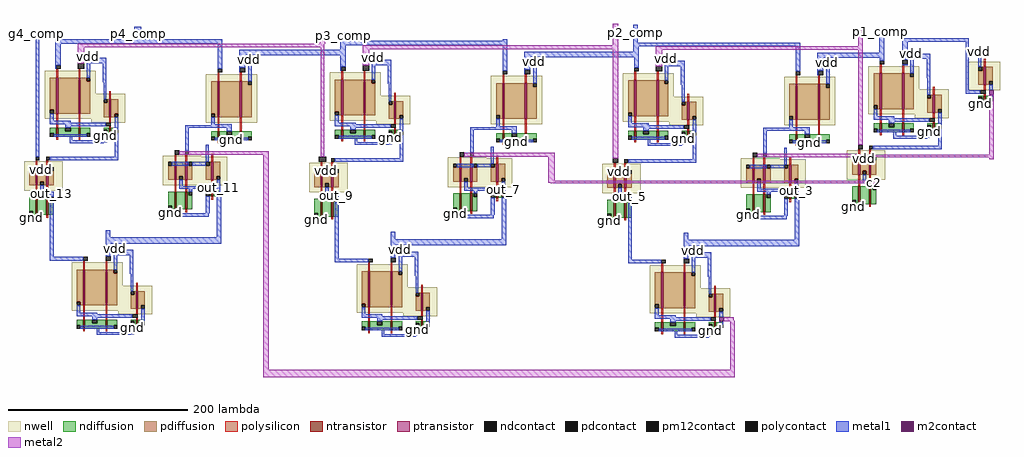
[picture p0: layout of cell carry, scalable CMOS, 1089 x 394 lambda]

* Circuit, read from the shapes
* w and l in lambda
.subckt carry c1 c2 c3 c4 c5 g0_comp g1_comp g2_comp g3_comp g4_comp gnd out_1 out_10 out_11 out_12 out_13 out_2 out_3 out_4 out_5 out_6 out_7 out_8 out_9 p1_comp p2_comp p3_comp p4_comp vdd
M1 n1 g4_comp gnd VSUBS nfet w=20 l=2
M2 out_13 out_12 n1 VSUBS nfet w=20 l=2
M3 n2 p4_comp gnd VSUBS nfet w=10 l=2
M4 gnd g3_comp n2 VSUBS nfet w=10 l=2
M5 n3 out_13 gnd VSUBS nfet w=10 l=2
M6 gnd out_11 n3 VSUBS nfet w=10 l=2
M7 out_12 n2 gnd VSUBS nfet w=6 l=2
M8 c5 n3 gnd VSUBS nfet w=6 l=2
M9 n4 c3 gnd VSUBS nfet w=20 l=2
M10 n5 out_10 n4 VSUBS nfet w=20 l=2
M11 out_11 n5 gnd VSUBS nfet w=6 l=2
M12 out_10 p4_comp gnd VSUBS nfet w=10 l=2
M13 gnd p3_comp out_10 VSUBS nfet w=10 l=2
M14 n6 g3_comp gnd VSUBS nfet w=20 l=2
M15 out_9 out_8 n6 VSUBS nfet w=20 l=2
M16 n7 p3_comp gnd VSUBS nfet w=10 l=2
M17 gnd g2_comp n7 VSUBS nfet w=10 l=2
M18 n8 out_9 gnd VSUBS nfet w=10 l=2
M19 gnd out_7 n8 VSUBS nfet w=10 l=2
M20 out_8 n7 gnd VSUBS nfet w=6 l=2
M21 c4 n8 gnd VSUBS nfet w=6 l=2
M22 n9 c2 gnd VSUBS nfet w=20 l=2
M23 n10 out_6 n9 VSUBS nfet w=20 l=2
M24 out_7 n10 gnd VSUBS nfet w=6 l=2
M25 out_6 p3_comp gnd VSUBS nfet w=10 l=2
M26 gnd p2_comp out_6 VSUBS nfet w=10 l=2
M27 n11 g2_comp gnd VSUBS nfet w=20 l=2
M28 out_5 out_4 n11 VSUBS nfet w=20 l=2
M29 n12 p2_comp gnd VSUBS nfet w=10 l=2
M30 gnd g1_comp n12 VSUBS nfet w=10 l=2
M31 n13 out_5 gnd VSUBS nfet w=10 l=2
M32 gnd out_3 n13 VSUBS nfet w=10 l=2
M33 out_4 n12 gnd VSUBS nfet w=6 l=2
M34 c3 n13 gnd VSUBS nfet w=6 l=2
M35 n14 c1 gnd VSUBS nfet w=20 l=2
M36 n15 out_2 n14 VSUBS nfet w=20 l=2
M37 out_3 n15 gnd VSUBS nfet w=6 l=2
M38 out_2 p2_comp gnd VSUBS nfet w=10 l=2
M39 gnd p1_comp out_2 VSUBS nfet w=10 l=2
M40 n16 g1_comp gnd VSUBS nfet w=20 l=2
M41 c2 out_1 n16 VSUBS nfet w=20 l=2
M42 n17 p1_comp gnd VSUBS nfet w=10 l=2
M43 gnd g0_comp n17 VSUBS nfet w=10 l=2
M44 out_1 n17 gnd VSUBS nfet w=6 l=2
M45 c1 g0_comp gnd VSUBS nfet w=6 l=2
M46 out_13 g4_comp vdd n18 pfet w=20 l=2
M47 vdd out_12 out_13 n18 pfet w=20 l=2
M48 n19 p4_comp n2 n20 pfet w=40 l=2
M49 vdd g3_comp n19 n20 pfet w=40 l=2
M50 n21 out_13 n3 n22 pfet w=40 l=2
M51 vdd out_11 n21 n22 pfet w=40 l=2
M52 out_12 n2 vdd n20 pfet w=20 l=2
M53 c5 n3 vdd n22 pfet w=20 l=2
M54 n5 c3 vdd n23 pfet w=20 l=2
M55 vdd out_10 n5 n23 pfet w=20 l=2
M56 out_11 n5 vdd n23 pfet w=20 l=2
M57 n24 p4_comp out_10 n25 pfet w=40 l=2
M58 vdd p3_comp n24 n25 pfet w=40 l=2
M59 out_9 g3_comp vdd n26 pfet w=20 l=2
M60 vdd out_8 out_9 n26 pfet w=20 l=2
M61 n27 p3_comp n7 n28 pfet w=40 l=2
M62 vdd g2_comp n27 n28 pfet w=40 l=2
M63 n29 out_9 n8 n30 pfet w=40 l=2
M64 vdd out_7 n29 n30 pfet w=40 l=2
M65 out_8 n7 vdd n28 pfet w=20 l=2
M66 c4 n8 vdd n30 pfet w=20 l=2
M67 n10 c2 vdd n31 pfet w=20 l=2
M68 vdd out_6 n10 n31 pfet w=20 l=2
M69 out_7 n10 vdd n31 pfet w=20 l=2
M70 n32 p3_comp out_6 n33 pfet w=40 l=2
M71 vdd p2_comp n32 n33 pfet w=40 l=2
M72 out_5 g2_comp vdd n34 pfet w=20 l=2
M73 vdd out_4 out_5 n34 pfet w=20 l=2
M74 n35 p2_comp n12 n36 pfet w=40 l=2
M75 vdd g1_comp n35 n36 pfet w=40 l=2
M76 n37 out_5 n13 n38 pfet w=40 l=2
M77 vdd out_3 n37 n38 pfet w=40 l=2
M78 out_4 n12 vdd n36 pfet w=20 l=2
M79 c3 n13 vdd n38 pfet w=20 l=2
M80 n15 c1 vdd n39 pfet w=20 l=2
M81 vdd out_2 n15 n39 pfet w=20 l=2
M82 out_3 n15 vdd n39 pfet w=20 l=2
M83 n40 p2_comp out_2 n41 pfet w=40 l=2
M84 vdd p1_comp n40 n41 pfet w=40 l=2
M85 c2 g1_comp vdd n42 pfet w=20 l=2
M86 vdd out_1 c2 n42 pfet w=20 l=2
M87 n43 p1_comp n17 n44 pfet w=40 l=2
M88 vdd g0_comp n43 n44 pfet w=40 l=2
M89 out_1 n17 vdd n44 pfet w=20 l=2
M90 c1 g0_comp vdd n45 pfet w=20 l=2
.ends

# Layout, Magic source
magic
tech scmos
<< nwell >>
rect -1082 -52 -1025 -26
rect -1082 -80 -992 -52
rect -1030 -84 -992 -80
rect -902 -84 -845 -30
rect -764 -54 -707 -28
rect -764 -82 -674 -54
rect -712 -86 -674 -82
rect -584 -86 -527 -32
rect -437 -55 -380 -29
rect -437 -83 -347 -55
rect -385 -87 -347 -83
rect -257 -87 -200 -33
rect -163 -47 -106 -21
rect -163 -75 -73 -47
rect -52 -48 -16 -16
rect -111 -79 -73 -75
rect -950 -122 -907 -121
rect -1105 -160 -1062 -127
rect -950 -154 -878 -122
rect -632 -124 -589 -123
rect -787 -162 -744 -129
rect -632 -156 -560 -124
rect -305 -125 -262 -124
rect -460 -163 -417 -130
rect -305 -157 -233 -125
rect -187 -148 -144 -115
rect -1052 -266 -995 -240
rect -1052 -294 -962 -266
rect -1000 -298 -962 -294
rect -734 -268 -677 -242
rect -734 -296 -644 -268
rect -682 -300 -644 -296
rect -407 -269 -350 -243
rect -407 -297 -317 -269
rect -355 -301 -317 -297
<< ntransistor >>
rect -1069 -100 -1067 -90
rect -1044 -100 -1042 -90
rect -1010 -96 -1008 -90
rect -889 -104 -887 -94
rect -864 -104 -862 -94
rect -751 -102 -749 -92
rect -726 -102 -724 -92
rect -692 -98 -690 -92
rect -571 -106 -569 -96
rect -546 -106 -544 -96
rect -424 -103 -422 -93
rect -399 -103 -397 -93
rect -365 -99 -363 -93
rect -34 -60 -32 -54
rect -150 -95 -148 -85
rect -125 -95 -123 -85
rect -91 -91 -89 -85
rect -244 -107 -242 -97
rect -219 -107 -217 -97
rect -1092 -187 -1090 -167
rect -1080 -187 -1078 -167
rect -937 -181 -935 -161
rect -925 -181 -923 -161
rect -896 -166 -894 -160
rect -774 -189 -772 -169
rect -762 -189 -760 -169
rect -619 -183 -617 -163
rect -607 -183 -605 -163
rect -578 -168 -576 -162
rect -447 -190 -445 -170
rect -435 -190 -433 -170
rect -292 -184 -290 -164
rect -280 -184 -278 -164
rect -251 -169 -249 -163
rect -174 -175 -172 -155
rect -162 -175 -160 -155
rect -1039 -314 -1037 -304
rect -1014 -314 -1012 -304
rect -980 -310 -978 -304
rect -721 -316 -719 -306
rect -696 -316 -694 -306
rect -662 -312 -660 -306
rect -394 -317 -392 -307
rect -369 -317 -367 -307
rect -335 -313 -333 -307
<< ptransistor >>
rect -1069 -74 -1067 -34
rect -1044 -74 -1042 -34
rect -1010 -78 -1008 -58
rect -889 -78 -887 -38
rect -864 -78 -862 -38
rect -751 -76 -749 -36
rect -726 -76 -724 -36
rect -692 -80 -690 -60
rect -571 -80 -569 -40
rect -546 -80 -544 -40
rect -424 -77 -422 -37
rect -399 -77 -397 -37
rect -365 -81 -363 -61
rect -244 -81 -242 -41
rect -219 -81 -217 -41
rect -150 -69 -148 -29
rect -125 -69 -123 -29
rect -34 -42 -32 -22
rect -91 -73 -89 -53
rect -1092 -154 -1090 -134
rect -1080 -154 -1078 -134
rect -937 -148 -935 -128
rect -925 -148 -923 -128
rect -896 -148 -894 -128
rect -774 -156 -772 -136
rect -762 -156 -760 -136
rect -619 -150 -617 -130
rect -607 -150 -605 -130
rect -578 -150 -576 -130
rect -447 -157 -445 -137
rect -435 -157 -433 -137
rect -292 -151 -290 -131
rect -280 -151 -278 -131
rect -251 -151 -249 -131
rect -174 -142 -172 -122
rect -162 -142 -160 -122
rect -1039 -288 -1037 -248
rect -1014 -288 -1012 -248
rect -980 -292 -978 -272
rect -721 -290 -719 -250
rect -696 -290 -694 -250
rect -662 -294 -660 -274
rect -394 -291 -392 -251
rect -369 -291 -367 -251
rect -335 -295 -333 -275
<< ndiffusion >>
rect -1076 -96 -1069 -90
rect -1072 -100 -1069 -96
rect -1067 -94 -1059 -90
rect -1053 -94 -1044 -90
rect -1067 -100 -1044 -94
rect -1042 -96 -1031 -90
rect -1016 -92 -1010 -90
rect -1012 -96 -1010 -92
rect -1008 -92 -1000 -90
rect -1008 -96 -1004 -92
rect -1042 -100 -1035 -96
rect -896 -100 -889 -94
rect -892 -104 -889 -100
rect -887 -98 -879 -94
rect -873 -98 -864 -94
rect -887 -104 -864 -98
rect -862 -100 -851 -94
rect -862 -104 -855 -100
rect -758 -98 -751 -92
rect -754 -102 -751 -98
rect -749 -96 -741 -92
rect -735 -96 -726 -92
rect -749 -102 -726 -96
rect -724 -98 -713 -92
rect -698 -94 -692 -92
rect -694 -98 -692 -94
rect -690 -94 -682 -92
rect -690 -98 -686 -94
rect -724 -102 -717 -98
rect -578 -102 -571 -96
rect -574 -106 -571 -102
rect -569 -100 -561 -96
rect -555 -100 -546 -96
rect -569 -106 -546 -100
rect -544 -102 -533 -96
rect -544 -106 -537 -102
rect -431 -99 -424 -93
rect -427 -103 -424 -99
rect -422 -97 -414 -93
rect -408 -97 -399 -93
rect -422 -103 -399 -97
rect -397 -99 -386 -93
rect -371 -95 -365 -93
rect -367 -99 -365 -95
rect -363 -95 -355 -93
rect -363 -99 -359 -95
rect -40 -56 -34 -54
rect -36 -60 -34 -56
rect -32 -56 -24 -54
rect -32 -60 -28 -56
rect -157 -91 -150 -85
rect -153 -95 -150 -91
rect -148 -89 -140 -85
rect -134 -89 -125 -85
rect -148 -95 -125 -89
rect -123 -91 -112 -85
rect -97 -87 -91 -85
rect -93 -91 -91 -87
rect -89 -87 -81 -85
rect -89 -91 -85 -87
rect -123 -95 -116 -91
rect -397 -103 -390 -99
rect -251 -103 -244 -97
rect -247 -107 -244 -103
rect -242 -101 -234 -97
rect -228 -101 -219 -97
rect -242 -107 -219 -101
rect -217 -103 -206 -97
rect -217 -107 -210 -103
rect -1099 -183 -1092 -167
rect -1095 -187 -1092 -183
rect -1090 -187 -1080 -167
rect -1078 -171 -1076 -167
rect -1078 -187 -1072 -171
rect -944 -177 -937 -161
rect -940 -181 -937 -177
rect -935 -181 -925 -161
rect -923 -165 -921 -161
rect -923 -181 -917 -165
rect -902 -162 -896 -160
rect -898 -166 -896 -162
rect -894 -162 -886 -160
rect -894 -166 -890 -162
rect -781 -185 -774 -169
rect -777 -189 -774 -185
rect -772 -189 -762 -169
rect -760 -173 -758 -169
rect -760 -189 -754 -173
rect -626 -179 -619 -163
rect -622 -183 -619 -179
rect -617 -183 -607 -163
rect -605 -167 -603 -163
rect -605 -183 -599 -167
rect -584 -164 -578 -162
rect -580 -168 -578 -164
rect -576 -164 -568 -162
rect -576 -168 -572 -164
rect -454 -186 -447 -170
rect -450 -190 -447 -186
rect -445 -190 -435 -170
rect -433 -174 -431 -170
rect -433 -190 -427 -174
rect -299 -180 -292 -164
rect -295 -184 -292 -180
rect -290 -184 -280 -164
rect -278 -168 -276 -164
rect -278 -184 -272 -168
rect -257 -165 -251 -163
rect -253 -169 -251 -165
rect -249 -165 -241 -163
rect -249 -169 -245 -165
rect -181 -171 -174 -155
rect -177 -175 -174 -171
rect -172 -175 -162 -155
rect -160 -159 -158 -155
rect -160 -175 -154 -159
rect -1046 -310 -1039 -304
rect -1042 -314 -1039 -310
rect -1037 -308 -1029 -304
rect -1023 -308 -1014 -304
rect -1037 -314 -1014 -308
rect -1012 -310 -1001 -304
rect -986 -306 -980 -304
rect -982 -310 -980 -306
rect -978 -306 -970 -304
rect -978 -310 -974 -306
rect -1012 -314 -1005 -310
rect -728 -312 -721 -306
rect -724 -316 -721 -312
rect -719 -310 -711 -306
rect -705 -310 -696 -306
rect -719 -316 -696 -310
rect -694 -312 -683 -306
rect -668 -308 -662 -306
rect -664 -312 -662 -308
rect -660 -308 -652 -306
rect -660 -312 -656 -308
rect -694 -316 -687 -312
rect -401 -313 -394 -307
rect -397 -317 -394 -313
rect -392 -311 -384 -307
rect -378 -311 -369 -307
rect -392 -317 -369 -311
rect -367 -313 -356 -307
rect -341 -309 -335 -307
rect -337 -313 -335 -309
rect -333 -309 -325 -307
rect -333 -313 -329 -309
rect -367 -317 -360 -313
<< pdiffusion >>
rect -1076 -70 -1069 -34
rect -1072 -74 -1069 -70
rect -1067 -74 -1044 -34
rect -1042 -38 -1035 -34
rect -1042 -74 -1031 -38
rect -1012 -62 -1010 -58
rect -1016 -78 -1010 -62
rect -1008 -74 -1000 -58
rect -1008 -78 -1004 -74
rect -896 -74 -889 -38
rect -892 -78 -889 -74
rect -887 -78 -864 -38
rect -862 -42 -855 -38
rect -862 -78 -851 -42
rect -758 -72 -751 -36
rect -754 -76 -751 -72
rect -749 -76 -726 -36
rect -724 -40 -717 -36
rect -36 -26 -34 -22
rect -724 -76 -713 -40
rect -694 -64 -692 -60
rect -698 -80 -692 -64
rect -690 -76 -682 -60
rect -690 -80 -686 -76
rect -578 -76 -571 -40
rect -574 -80 -571 -76
rect -569 -80 -546 -40
rect -544 -44 -537 -40
rect -544 -80 -533 -44
rect -431 -73 -424 -37
rect -427 -77 -424 -73
rect -422 -77 -399 -37
rect -397 -41 -390 -37
rect -397 -77 -386 -41
rect -367 -65 -365 -61
rect -371 -81 -365 -65
rect -363 -77 -355 -61
rect -363 -81 -359 -77
rect -251 -77 -244 -41
rect -247 -81 -244 -77
rect -242 -81 -219 -41
rect -217 -45 -210 -41
rect -217 -81 -206 -45
rect -157 -65 -150 -29
rect -153 -69 -150 -65
rect -148 -69 -125 -29
rect -123 -33 -116 -29
rect -123 -69 -112 -33
rect -40 -42 -34 -26
rect -32 -38 -24 -22
rect -32 -42 -28 -38
rect -93 -57 -91 -53
rect -97 -73 -91 -57
rect -89 -69 -81 -53
rect -89 -73 -85 -69
rect -940 -132 -937 -128
rect -1095 -138 -1092 -134
rect -1099 -154 -1092 -138
rect -1090 -150 -1080 -134
rect -1090 -154 -1087 -150
rect -1083 -154 -1080 -150
rect -1078 -138 -1076 -134
rect -1078 -154 -1072 -138
rect -944 -148 -937 -132
rect -935 -144 -925 -128
rect -935 -148 -932 -144
rect -928 -148 -925 -144
rect -923 -132 -921 -128
rect -923 -148 -917 -132
rect -898 -132 -896 -128
rect -902 -148 -896 -132
rect -894 -144 -886 -128
rect -622 -134 -619 -130
rect -894 -148 -890 -144
rect -777 -140 -774 -136
rect -781 -156 -774 -140
rect -772 -152 -762 -136
rect -772 -156 -769 -152
rect -765 -156 -762 -152
rect -760 -140 -758 -136
rect -760 -156 -754 -140
rect -626 -150 -619 -134
rect -617 -146 -607 -130
rect -617 -150 -614 -146
rect -610 -150 -607 -146
rect -605 -134 -603 -130
rect -605 -150 -599 -134
rect -580 -134 -578 -130
rect -584 -150 -578 -134
rect -576 -146 -568 -130
rect -177 -126 -174 -122
rect -295 -135 -292 -131
rect -576 -150 -572 -146
rect -450 -141 -447 -137
rect -454 -157 -447 -141
rect -445 -153 -435 -137
rect -445 -157 -442 -153
rect -438 -157 -435 -153
rect -433 -141 -431 -137
rect -433 -157 -427 -141
rect -299 -151 -292 -135
rect -290 -147 -280 -131
rect -290 -151 -287 -147
rect -283 -151 -280 -147
rect -278 -135 -276 -131
rect -278 -151 -272 -135
rect -253 -135 -251 -131
rect -257 -151 -251 -135
rect -249 -147 -241 -131
rect -181 -142 -174 -126
rect -172 -138 -162 -122
rect -172 -142 -169 -138
rect -165 -142 -162 -138
rect -160 -126 -158 -122
rect -160 -142 -154 -126
rect -249 -151 -245 -147
rect -1046 -284 -1039 -248
rect -1042 -288 -1039 -284
rect -1037 -288 -1014 -248
rect -1012 -252 -1005 -248
rect -1012 -288 -1001 -252
rect -982 -276 -980 -272
rect -986 -292 -980 -276
rect -978 -288 -970 -272
rect -978 -292 -974 -288
rect -728 -286 -721 -250
rect -724 -290 -721 -286
rect -719 -290 -696 -250
rect -694 -254 -687 -250
rect -694 -290 -683 -254
rect -664 -278 -662 -274
rect -668 -294 -662 -278
rect -660 -290 -652 -274
rect -660 -294 -656 -290
rect -401 -287 -394 -251
rect -397 -291 -394 -287
rect -392 -291 -369 -251
rect -367 -255 -360 -251
rect -367 -291 -356 -255
rect -337 -279 -335 -275
rect -341 -295 -335 -279
rect -333 -291 -325 -275
rect -333 -295 -329 -291
<< ndcontact >>
rect -1076 -100 -1072 -96
rect -1059 -94 -1053 -90
rect -1016 -96 -1012 -92
rect -1004 -96 -1000 -92
rect -1035 -100 -1031 -96
rect -896 -104 -892 -100
rect -879 -98 -873 -94
rect -855 -104 -851 -100
rect -758 -102 -754 -98
rect -741 -96 -735 -92
rect -698 -98 -694 -94
rect -686 -98 -682 -94
rect -717 -102 -713 -98
rect -578 -106 -574 -102
rect -561 -100 -555 -96
rect -537 -106 -533 -102
rect -431 -103 -427 -99
rect -414 -97 -408 -93
rect -371 -99 -367 -95
rect -359 -99 -355 -95
rect -40 -60 -36 -56
rect -28 -60 -24 -56
rect -157 -95 -153 -91
rect -140 -89 -134 -85
rect -97 -91 -93 -87
rect -85 -91 -81 -87
rect -116 -95 -112 -91
rect -390 -103 -386 -99
rect -251 -107 -247 -103
rect -234 -101 -228 -97
rect -210 -107 -206 -103
rect -1099 -187 -1095 -183
rect -1076 -171 -1072 -167
rect -944 -181 -940 -177
rect -921 -165 -917 -161
rect -902 -166 -898 -162
rect -890 -166 -886 -162
rect -781 -189 -777 -185
rect -758 -173 -754 -169
rect -626 -183 -622 -179
rect -603 -167 -599 -163
rect -584 -168 -580 -164
rect -572 -168 -568 -164
rect -454 -190 -450 -186
rect -431 -174 -427 -170
rect -299 -184 -295 -180
rect -276 -168 -272 -164
rect -257 -169 -253 -165
rect -245 -169 -241 -165
rect -181 -175 -177 -171
rect -158 -159 -154 -155
rect -1046 -314 -1042 -310
rect -1029 -308 -1023 -304
rect -986 -310 -982 -306
rect -974 -310 -970 -306
rect -1005 -314 -1001 -310
rect -728 -316 -724 -312
rect -711 -310 -705 -306
rect -668 -312 -664 -308
rect -656 -312 -652 -308
rect -687 -316 -683 -312
rect -401 -317 -397 -313
rect -384 -311 -378 -307
rect -341 -313 -337 -309
rect -329 -313 -325 -309
rect -360 -317 -356 -313
<< pdcontact >>
rect -1076 -74 -1072 -70
rect -1035 -38 -1031 -34
rect -1016 -62 -1012 -58
rect -1004 -78 -1000 -74
rect -896 -78 -892 -74
rect -855 -42 -851 -38
rect -758 -76 -754 -72
rect -717 -40 -713 -36
rect -40 -26 -36 -22
rect -698 -64 -694 -60
rect -686 -80 -682 -76
rect -578 -80 -574 -76
rect -537 -44 -533 -40
rect -431 -77 -427 -73
rect -390 -41 -386 -37
rect -371 -65 -367 -61
rect -359 -81 -355 -77
rect -251 -81 -247 -77
rect -210 -45 -206 -41
rect -157 -69 -153 -65
rect -116 -33 -112 -29
rect -28 -42 -24 -38
rect -97 -57 -93 -53
rect -85 -73 -81 -69
rect -944 -132 -940 -128
rect -1099 -138 -1095 -134
rect -1087 -154 -1083 -150
rect -1076 -138 -1072 -134
rect -932 -148 -928 -144
rect -921 -132 -917 -128
rect -902 -132 -898 -128
rect -626 -134 -622 -130
rect -890 -148 -886 -144
rect -781 -140 -777 -136
rect -769 -156 -765 -152
rect -758 -140 -754 -136
rect -614 -150 -610 -146
rect -603 -134 -599 -130
rect -584 -134 -580 -130
rect -181 -126 -177 -122
rect -299 -135 -295 -131
rect -572 -150 -568 -146
rect -454 -141 -450 -137
rect -442 -157 -438 -153
rect -431 -141 -427 -137
rect -287 -151 -283 -147
rect -276 -135 -272 -131
rect -257 -135 -253 -131
rect -169 -142 -165 -138
rect -158 -126 -154 -122
rect -245 -151 -241 -147
rect -1046 -288 -1042 -284
rect -1005 -252 -1001 -248
rect -986 -276 -982 -272
rect -974 -292 -970 -288
rect -728 -290 -724 -286
rect -687 -254 -683 -250
rect -668 -278 -664 -274
rect -656 -294 -652 -290
rect -401 -291 -397 -287
rect -360 -255 -356 -251
rect -341 -279 -337 -275
rect -329 -295 -325 -291
<< polysilicon >>
rect -1069 -34 -1067 -24
rect -1044 -34 -1042 -24
rect -889 -38 -887 -28
rect -864 -38 -862 -28
rect -751 -36 -749 -26
rect -726 -36 -724 -26
rect -1010 -58 -1008 -49
rect -1069 -90 -1067 -74
rect -1044 -90 -1042 -74
rect -571 -40 -569 -30
rect -546 -40 -544 -30
rect -424 -37 -422 -27
rect -399 -37 -397 -27
rect -150 -29 -148 -19
rect -125 -29 -123 -19
rect -34 -22 -32 -13
rect -692 -60 -690 -51
rect -1010 -84 -1008 -78
rect -1010 -90 -1008 -88
rect -889 -94 -887 -78
rect -864 -94 -862 -78
rect -751 -92 -749 -76
rect -726 -92 -724 -76
rect -244 -41 -242 -31
rect -219 -41 -217 -31
rect -365 -61 -363 -52
rect -692 -86 -690 -80
rect -692 -92 -690 -90
rect -1010 -100 -1008 -96
rect -1069 -103 -1067 -100
rect -1044 -103 -1042 -100
rect -571 -96 -569 -80
rect -546 -96 -544 -80
rect -424 -93 -422 -77
rect -399 -93 -397 -77
rect -91 -53 -89 -44
rect -34 -48 -32 -42
rect -365 -87 -363 -81
rect -365 -93 -363 -91
rect -692 -102 -690 -98
rect -889 -107 -887 -104
rect -864 -107 -862 -104
rect -751 -105 -749 -102
rect -726 -105 -724 -102
rect -244 -97 -242 -81
rect -219 -97 -217 -81
rect -150 -85 -148 -69
rect -125 -85 -123 -69
rect -34 -54 -32 -52
rect -34 -64 -32 -60
rect -91 -79 -89 -73
rect -91 -85 -89 -83
rect -91 -95 -89 -91
rect -365 -103 -363 -99
rect -424 -106 -422 -103
rect -399 -106 -397 -103
rect -571 -109 -569 -106
rect -546 -109 -544 -106
rect -150 -98 -148 -95
rect -125 -98 -123 -95
rect -244 -110 -242 -107
rect -219 -110 -217 -107
rect -1092 -134 -1090 -126
rect -1080 -134 -1078 -126
rect -937 -128 -935 -120
rect -925 -128 -923 -120
rect -896 -128 -894 -119
rect -774 -136 -772 -128
rect -762 -136 -760 -128
rect -619 -130 -617 -122
rect -607 -130 -605 -122
rect -578 -130 -576 -121
rect -174 -122 -172 -114
rect -162 -122 -160 -114
rect -1092 -167 -1090 -154
rect -1080 -167 -1078 -154
rect -937 -161 -935 -148
rect -925 -161 -923 -148
rect -896 -154 -894 -148
rect -447 -137 -445 -129
rect -435 -137 -433 -129
rect -292 -131 -290 -123
rect -280 -131 -278 -123
rect -251 -131 -249 -122
rect -896 -160 -894 -158
rect -896 -170 -894 -166
rect -774 -169 -772 -156
rect -762 -169 -760 -156
rect -619 -163 -617 -150
rect -607 -163 -605 -150
rect -578 -156 -576 -150
rect -578 -162 -576 -160
rect -937 -184 -935 -181
rect -925 -184 -923 -181
rect -1092 -190 -1090 -187
rect -1080 -190 -1078 -187
rect -578 -172 -576 -168
rect -447 -170 -445 -157
rect -435 -170 -433 -157
rect -292 -164 -290 -151
rect -280 -164 -278 -151
rect -251 -157 -249 -151
rect -174 -155 -172 -142
rect -162 -155 -160 -142
rect -251 -163 -249 -161
rect -619 -186 -617 -183
rect -607 -186 -605 -183
rect -774 -192 -772 -189
rect -762 -192 -760 -189
rect -251 -173 -249 -169
rect -174 -178 -172 -175
rect -162 -178 -160 -175
rect -292 -187 -290 -184
rect -280 -187 -278 -184
rect -447 -193 -445 -190
rect -435 -193 -433 -190
rect -1039 -248 -1037 -238
rect -1014 -248 -1012 -238
rect -721 -250 -719 -240
rect -696 -250 -694 -240
rect -980 -272 -978 -263
rect -1039 -304 -1037 -288
rect -1014 -304 -1012 -288
rect -394 -251 -392 -241
rect -369 -251 -367 -241
rect -662 -274 -660 -265
rect -980 -298 -978 -292
rect -980 -304 -978 -302
rect -721 -306 -719 -290
rect -696 -306 -694 -290
rect -335 -275 -333 -266
rect -662 -300 -660 -294
rect -662 -306 -660 -304
rect -980 -314 -978 -310
rect -1039 -317 -1037 -314
rect -1014 -317 -1012 -314
rect -394 -307 -392 -291
rect -369 -307 -367 -291
rect -335 -301 -333 -295
rect -335 -307 -333 -305
rect -662 -316 -660 -312
rect -721 -319 -719 -316
rect -696 -319 -694 -316
rect -335 -317 -333 -313
rect -394 -320 -392 -317
rect -369 -320 -367 -317
<< polycontact >>
rect -1069 -24 -1064 -20
rect -150 -19 -145 -15
rect -125 -19 -119 -14
rect -889 -28 -884 -24
rect -864 -28 -858 -23
rect -751 -26 -746 -22
rect -571 -30 -566 -26
rect -546 -30 -540 -25
rect -424 -27 -419 -23
rect -244 -31 -239 -27
rect -219 -31 -213 -26
rect -1014 -88 -1008 -84
rect -696 -90 -690 -86
rect -38 -52 -32 -48
rect -369 -91 -363 -87
rect -95 -83 -89 -79
rect -162 -114 -158 -110
rect -925 -120 -921 -116
rect -1092 -126 -1088 -122
rect -1080 -126 -1076 -122
rect -607 -122 -603 -118
rect -762 -128 -758 -124
rect -280 -123 -276 -119
rect -435 -129 -431 -125
rect -900 -158 -894 -154
rect -582 -160 -576 -156
rect -255 -161 -249 -157
rect -1039 -238 -1034 -234
rect -1014 -238 -1008 -233
rect -721 -240 -716 -236
rect -696 -240 -690 -235
rect -394 -241 -389 -237
rect -369 -241 -363 -236
rect -984 -302 -978 -298
rect -666 -304 -660 -300
rect -339 -305 -333 -301
<< metal1 >>
rect -1092 -122 -1088 17
rect -982 9 -974 23
rect -1070 4 -884 9
rect -1070 -20 -1064 4
rect -1035 -12 -1031 -8
rect -1035 -18 -1013 -12
rect -1070 -24 -1069 -20
rect -1035 -34 -1031 -18
rect -1017 -39 -1013 -18
rect -889 -24 -884 4
rect -752 7 -746 17
rect -571 7 -566 9
rect -752 2 -566 7
rect -752 -3 -746 2
rect -865 -9 -746 -3
rect -865 -23 -858 -9
rect -865 -28 -864 -23
rect -1016 -58 -1013 -39
rect -855 -38 -851 -12
rect -752 -22 -746 -9
rect -717 -14 -713 -10
rect -717 -20 -695 -14
rect -752 -26 -751 -22
rect -717 -36 -713 -20
rect -699 -41 -695 -20
rect -571 -26 -566 2
rect -425 5 -420 25
rect -425 1 -239 5
rect -425 -5 -419 1
rect -547 -11 -419 -5
rect -547 -25 -540 -11
rect -547 -30 -546 -25
rect -698 -60 -695 -41
rect -537 -40 -533 -14
rect -424 -23 -419 -11
rect -390 -15 -386 -11
rect -390 -21 -368 -15
rect -390 -37 -386 -21
rect -372 -42 -368 -21
rect -244 -27 -239 1
rect -151 -6 -145 20
rect -220 -12 -145 -6
rect -220 -26 -213 -12
rect -150 -15 -145 -12
rect -220 -31 -219 -26
rect -371 -61 -368 -42
rect -210 -41 -206 -15
rect -125 6 -51 10
rect -125 -14 -119 6
rect -125 -20 -119 -19
rect -116 -7 -112 -3
rect -116 -13 -94 -7
rect -116 -29 -112 -13
rect -98 -34 -94 -13
rect -97 -53 -94 -34
rect -54 -48 -51 6
rect -40 -22 -37 -3
rect -28 -48 -24 -42
rect -54 -52 -38 -48
rect -28 -56 -24 -53
rect -40 -67 -36 -60
rect -1076 -82 -1072 -74
rect -1076 -84 -1053 -82
rect -1076 -86 -1014 -84
rect -1059 -88 -1014 -86
rect -1059 -90 -1053 -88
rect -1004 -92 -1000 -78
rect -896 -86 -892 -78
rect -758 -84 -754 -76
rect -758 -86 -735 -84
rect -896 -87 -873 -86
rect -1072 -100 -1035 -97
rect -1054 -104 -1051 -100
rect -1016 -103 -1012 -96
rect -1020 -104 -1012 -103
rect -1054 -106 -1012 -104
rect -1054 -107 -1016 -106
rect -1004 -122 -1000 -96
rect -925 -90 -873 -87
rect -758 -88 -696 -86
rect -925 -116 -921 -90
rect -879 -94 -873 -90
rect -741 -90 -696 -88
rect -741 -92 -735 -90
rect -686 -94 -682 -80
rect -578 -88 -574 -80
rect -157 -77 -153 -69
rect -431 -85 -427 -77
rect -431 -87 -408 -85
rect -578 -89 -555 -88
rect -431 -89 -369 -87
rect -892 -104 -855 -101
rect -754 -102 -717 -99
rect -736 -106 -733 -102
rect -698 -105 -694 -98
rect -702 -106 -694 -105
rect -736 -108 -694 -106
rect -736 -109 -698 -108
rect -1076 -126 -1000 -122
rect -902 -128 -899 -109
rect -686 -124 -682 -98
rect -607 -92 -555 -89
rect -607 -118 -603 -92
rect -561 -96 -555 -92
rect -414 -91 -369 -89
rect -414 -93 -408 -91
rect -359 -95 -355 -81
rect -157 -79 -134 -77
rect -157 -81 -95 -79
rect -251 -89 -247 -81
rect -140 -83 -95 -81
rect -140 -85 -134 -83
rect -85 -87 -81 -73
rect -251 -90 -228 -89
rect -574 -106 -537 -103
rect -427 -103 -390 -100
rect -409 -107 -406 -103
rect -371 -106 -367 -99
rect -375 -107 -367 -106
rect -409 -109 -367 -107
rect -409 -110 -371 -109
rect -758 -128 -682 -124
rect -940 -132 -921 -128
rect -917 -132 -902 -128
rect -584 -130 -581 -111
rect -359 -125 -355 -99
rect -280 -93 -228 -90
rect -280 -119 -276 -93
rect -234 -97 -228 -93
rect -153 -95 -116 -92
rect -135 -99 -132 -95
rect -97 -98 -93 -91
rect -101 -99 -93 -98
rect -135 -101 -93 -99
rect -135 -102 -97 -101
rect -247 -107 -210 -104
rect -431 -129 -355 -125
rect -622 -134 -603 -130
rect -599 -134 -584 -130
rect -257 -131 -254 -112
rect -85 -110 -81 -91
rect -158 -114 -81 -110
rect -177 -126 -158 -122
rect -1095 -138 -1076 -134
rect -295 -135 -276 -131
rect -272 -135 -257 -131
rect -777 -140 -758 -136
rect -450 -141 -431 -137
rect -1087 -161 -1083 -154
rect -932 -155 -928 -148
rect -932 -158 -900 -155
rect -921 -161 -917 -158
rect -1087 -164 -1072 -161
rect -1076 -167 -1072 -164
rect -890 -162 -886 -148
rect -1099 -192 -1095 -187
rect -1076 -234 -1072 -171
rect -944 -185 -940 -181
rect -902 -185 -898 -166
rect -769 -163 -765 -156
rect -614 -157 -610 -150
rect -614 -160 -582 -157
rect -603 -163 -599 -160
rect -886 -166 -885 -163
rect -769 -166 -754 -163
rect -944 -189 -899 -185
rect -1014 -212 -1009 -204
rect -890 -212 -885 -166
rect -758 -169 -754 -166
rect -572 -164 -568 -150
rect -781 -194 -777 -189
rect -1014 -219 -885 -212
rect -1014 -233 -1009 -219
rect -1005 -226 -1001 -222
rect -1005 -232 -983 -226
rect -1076 -238 -1039 -234
rect -1005 -248 -1001 -232
rect -987 -253 -983 -232
rect -758 -236 -754 -173
rect -626 -187 -622 -183
rect -584 -187 -580 -168
rect -442 -164 -438 -157
rect -287 -158 -283 -151
rect -287 -161 -255 -158
rect -276 -164 -272 -161
rect -568 -168 -567 -165
rect -442 -167 -427 -164
rect -626 -191 -581 -187
rect -696 -214 -691 -206
rect -572 -214 -567 -168
rect -431 -170 -427 -167
rect -245 -165 -241 -151
rect -169 -149 -165 -142
rect -169 -152 -159 -149
rect -158 -155 -154 -154
rect -454 -195 -450 -190
rect -696 -221 -567 -214
rect -696 -235 -691 -221
rect -687 -228 -683 -224
rect -687 -234 -665 -228
rect -758 -240 -721 -236
rect -986 -272 -983 -253
rect -687 -250 -683 -234
rect -669 -255 -665 -234
rect -431 -237 -427 -174
rect -299 -188 -295 -184
rect -257 -188 -253 -169
rect -241 -169 -240 -166
rect -299 -192 -254 -188
rect -369 -215 -364 -207
rect -245 -215 -240 -169
rect -181 -180 -177 -175
rect -369 -222 -240 -215
rect -369 -236 -364 -222
rect -360 -229 -356 -225
rect -360 -235 -338 -229
rect -431 -241 -394 -237
rect -360 -251 -356 -235
rect -668 -274 -665 -255
rect -342 -256 -338 -235
rect -341 -275 -338 -256
rect -1046 -296 -1042 -288
rect -1046 -298 -1023 -296
rect -1046 -300 -984 -298
rect -1029 -302 -984 -300
rect -1029 -304 -1023 -302
rect -974 -306 -970 -292
rect -728 -298 -724 -290
rect -728 -300 -705 -298
rect -728 -302 -666 -300
rect -711 -304 -666 -302
rect -711 -306 -705 -304
rect -656 -308 -652 -294
rect -401 -299 -397 -291
rect -401 -301 -378 -299
rect -329 -301 -325 -295
rect -401 -303 -339 -301
rect -1042 -314 -1005 -311
rect -1024 -318 -1021 -314
rect -986 -317 -982 -310
rect -384 -305 -339 -303
rect -384 -307 -378 -305
rect -329 -309 -325 -306
rect -724 -316 -687 -313
rect -990 -318 -982 -317
rect -1024 -320 -982 -318
rect -706 -320 -703 -316
rect -668 -319 -664 -312
rect -397 -317 -360 -314
rect -672 -320 -664 -319
rect -1024 -321 -986 -320
rect -706 -322 -664 -320
rect -379 -321 -376 -317
rect -341 -320 -337 -313
rect -345 -321 -337 -320
rect -706 -323 -668 -322
rect -379 -323 -337 -321
rect -379 -324 -341 -323
<< m2contact >>
rect -28 -53 -23 -48
rect -159 -154 -153 -149
rect -329 -306 -324 -301
<< pm12contact >>
rect -1045 -24 -1038 -18
rect -727 -26 -720 -20
rect -400 -27 -393 -21
rect -937 -120 -932 -115
rect -776 -128 -768 -122
rect -619 -122 -614 -117
rect -448 -129 -442 -124
rect -292 -123 -287 -118
rect -174 -114 -169 -109
<< metal2 >>
rect -775 4 -769 16
rect -1045 0 -770 4
rect -448 2 -442 26
rect -1045 -18 -1038 0
rect -932 -120 -832 -116
rect -838 -360 -832 -120
rect -774 -122 -770 0
rect -727 -2 -442 2
rect -174 1 -169 19
rect -727 -20 -720 -2
rect -614 -122 -513 -118
rect -520 -149 -513 -122
rect -448 -124 -442 -2
rect -400 -3 -169 1
rect -400 -21 -393 -3
rect -174 -109 -169 -3
rect -287 -120 -176 -119
rect -28 -120 -23 -53
rect -287 -123 -23 -120
rect -28 -125 -23 -123
rect -520 -151 -159 -149
rect -517 -152 -159 -151
rect -324 -305 -313 -301
rect -324 -306 -312 -305
rect -317 -360 -312 -306
rect -838 -368 -312 -360
<< labels >>
rlabel metal1 -39 -5 -39 -5 5 vdd
rlabel metal1 -38 -63 -38 -63 1 gnd
rlabel m2contact -26 -51 -26 -51 1 c1
rlabel metal1 -95 -94 -95 -94 1 gnd
rlabel metal1 -115 -7 -115 -7 5 vdd
rlabel metal1 -83 -81 -83 -81 1 out_1
rlabel metal1 -167 -124 -167 -124 1 vdd
rlabel metal1 -179 -178 -179 -178 1 gnd
rlabel m2contact -156 -151 -156 -151 1 c2
rlabel metal1 -208 -17 -208 -17 5 vdd
rlabel metal1 -229 -106 -229 -106 1 gnd
rlabel metal1 -249 -91 -249 -91 1 out_2
rlabel metal1 -297 -187 -297 -187 1 gnd
rlabel metal1 -256 -114 -256 -114 5 vdd
rlabel metal1 -243 -160 -243 -160 1 out_3
rlabel metal1 -388 -13 -388 -13 5 vdd
rlabel metal1 -369 -102 -369 -102 1 gnd
rlabel metal1 -358 -227 -358 -227 5 vdd
rlabel metal1 -339 -316 -339 -316 1 gnd
rlabel m2contact -326 -302 -326 -302 1 c3
rlabel metal1 -357 -88 -357 -88 1 out_4
rlabel metal1 -440 -139 -440 -139 1 vdd
rlabel metal1 -452 -193 -452 -193 1 gnd
rlabel metal1 -429 -167 -429 -167 1 out_5
rlabel metal1 -535 -16 -535 -16 5 vdd
rlabel metal1 -556 -105 -556 -105 1 gnd
rlabel metal1 -624 -186 -624 -186 1 gnd
rlabel metal1 -583 -113 -583 -113 5 vdd
rlabel metal1 -715 -12 -715 -12 5 vdd
rlabel metal1 -696 -101 -696 -101 1 gnd
rlabel metal1 -685 -226 -685 -226 5 vdd
rlabel metal1 -666 -315 -666 -315 1 gnd
rlabel metal1 -767 -138 -767 -138 1 vdd
rlabel metal1 -779 -192 -779 -192 1 gnd
rlabel metal1 -576 -90 -576 -90 1 out_6
rlabel metal1 -570 -159 -570 -159 1 out_7
rlabel metal1 -684 -88 -684 -88 1 out_8
rlabel metal1 -756 -165 -756 -165 1 out_9
rlabel metal1 -654 -301 -654 -301 1 c4
rlabel metal1 -853 -14 -853 -14 5 vdd
rlabel metal1 -874 -103 -874 -103 1 gnd
rlabel metal1 -942 -184 -942 -184 1 gnd
rlabel metal1 -901 -111 -901 -111 5 vdd
rlabel metal1 -1033 -10 -1033 -10 5 vdd
rlabel metal1 -1014 -99 -1014 -99 1 gnd
rlabel metal1 -1003 -224 -1003 -224 5 vdd
rlabel metal1 -984 -313 -984 -313 1 gnd
rlabel metal1 -1085 -136 -1085 -136 1 vdd
rlabel metal1 -1097 -190 -1097 -190 1 gnd
rlabel metal1 -894 -88 -894 -88 1 out_10
rlabel metal1 -888 -157 -888 -157 1 out_11
rlabel metal1 -971 -300 -971 -300 1 c5
rlabel pm12contact -772 -125 -772 -125 1 g3_comp
rlabel metal1 -1002 -86 -1002 -86 1 out_12
rlabel metal1 -1074 -163 -1074 -163 1 out_13
rlabel metal1 -53 8 -53 8 5 g0_comp
rlabel metal1 -149 18 -149 18 5 p1_comp
rlabel metal2 -171 16 -171 16 5 g1_comp
rlabel metal1 -423 17 -423 17 1 p2_comp
rlabel metal2 -444 18 -444 18 1 g2_comp
rlabel metal1 -749 13 -749 13 1 p3_comp
rlabel metal2 -771 11 -771 11 1 g3_comp
rlabel metal1 -977 15 -977 15 1 p4_comp
rlabel metal1 -1091 15 -1091 15 1 g4_comp
<< end >>
